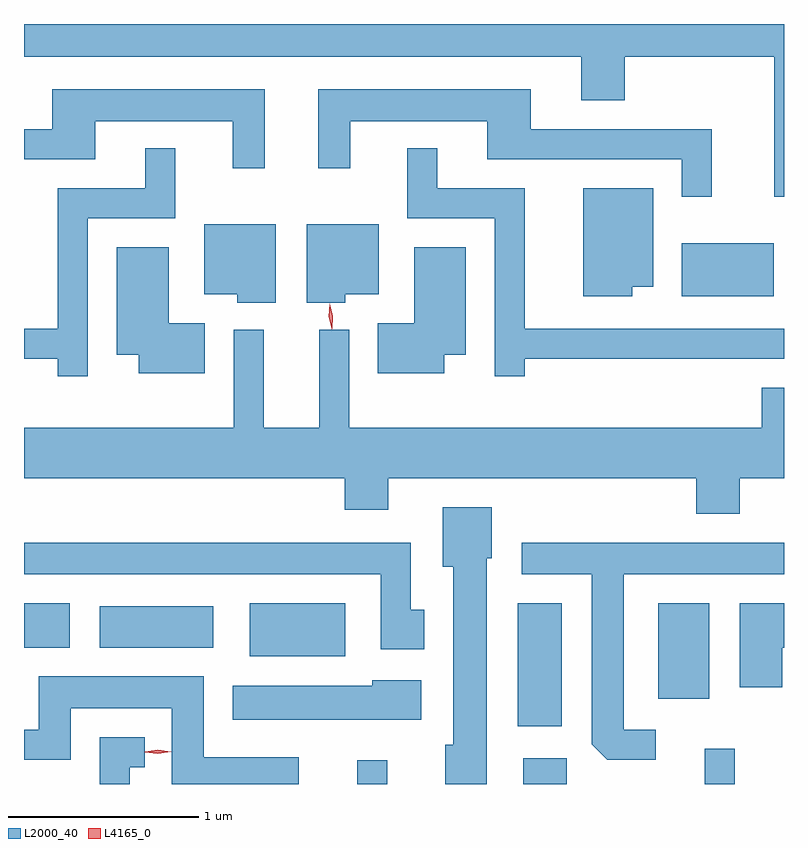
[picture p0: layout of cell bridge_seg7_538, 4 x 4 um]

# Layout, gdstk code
import gdstk
lib = gdstk.Library(unit=1e-6, precision=1e-09)
def R(c, l, rs):  # rectangles x0, y0, x1, y1
    for r in rs: c.add(gdstk.rectangle(r[:2], r[2:], *l))
def P(c, l, *ps):  # polygons
    for p in ps: c.add(gdstk.Polygon(p, *l))
L2000_40 = (2000, 40)
L4165_0 = (4165, 0)

bridge_seg7_538 = lib.new_cell('bridge_seg7_538')
R(bridge_seg7_538, L2000_40, [(964.436,1772.648,964.594,1772.773), (965.311,1772.648,965.539,1772.784), (966.266,1772.648,966.424,1772.833), (965.281,1772.951,965.514,1773.599), (966.021,1773.096,966.289,1773.599), (963.871,1773.321,964.374,1773.599), (962.683,1773.366,962.924,1773.599), (963.081,1773.366,963.679,1773.584), (966.146,1775.216,966.629,1775.494)])
P(bridge_seg7_538, L2000_40, [(966.683,1776.648),(962.683,1776.648),(962.683,1776.476),(965.616,1776.476),(965.616,1776.246),(965.844,1776.246),(965.844,1776.476),(966.631,1776.476),(966.631,1775.738),(966.683,1775.738)],
  [(963.949,1776.304),(962.831,1776.304),(962.831,1776.094),(962.683,1776.094),(962.683,1775.936),(963.059,1775.936),(963.059,1776.136),(963.781,1776.136),(963.781,1775.888),(963.949,1775.888)],
  [(966.304,1776.094),(965.349,1776.094),(965.349,1776.304),(964.231,1776.304),(964.231,1775.888),(964.399,1775.888),(964.399,1776.136),(965.121,1776.136),(965.121,1775.936),(966.146,1775.936),(966.146,1775.738),(966.304,1775.738)],
  [(965.319,1774.886),(966.683,1774.886),(966.683,1775.044),(965.319,1775.044),(965.319,1775.784),(964.859,1775.784),(964.859,1775.993),(964.701,1775.993),(964.701,1775.626),(965.161,1775.626),(965.161,1774.793),(965.319,1774.793)],
  [(963.019,1775.626),(963.479,1775.626),(963.479,1775.993),(963.321,1775.993),(963.321,1775.784),(962.861,1775.784),(962.861,1775.044),(962.683,1775.044),(962.683,1774.886),(962.861,1774.886),(962.861,1774.793),(963.019,1774.793)],
  [(965.884,1775.266),(965.994,1775.266),(965.994,1775.784),(965.626,1775.784),(965.626,1775.216),(965.884,1775.216)],
  [(964.009,1775.594),(963.631,1775.594),(963.631,1775.226),(963.806,1775.226),(963.806,1775.181),(964.009,1775.181)],
  [(964.374,1775.226),(964.549,1775.226),(964.549,1775.594),(964.171,1775.594),(964.171,1775.181),(964.374,1775.181)],
  [(963.634,1775.074),(963.444,1775.074),(963.444,1775.474),(963.171,1775.474),(963.171,1774.906),(963.286,1774.906),(963.286,1774.811),(963.634,1774.811)],
  [(964.894,1774.906),(965.009,1774.906),(965.009,1775.474),(964.736,1775.474),(964.736,1775.074),(964.546,1775.074),(964.546,1774.811),(964.894,1774.811)],
  [(966.449,1774.256),(966.683,1774.256),(966.683,1774.734),(966.566,1774.734),(966.566,1774.524),(964.394,1774.524),(964.394,1775.038),(964.236,1775.038),(964.236,1774.524),(963.944,1774.524),(963.944,1775.038),(963.786,1775.038),(963.786,1774.524),(962.683,1774.524),(962.683,1774.256),(964.371,1774.256),(964.371,1774.091),(964.599,1774.091),(964.599,1774.256),(966.221,1774.256),(966.221,1774.071),(966.449,1774.071)],
  [(965.119,1773.836),(965.144,1773.836),(965.144,1774.104),(964.886,1774.104),(964.886,1773.791),(964.941,1773.791),(964.941,1772.854),(964.901,1772.854),(964.901,1772.648),(965.119,1772.648)],
  [(966.008,1772.934),(965.839,1772.934),(965.839,1773.751),(966.683,1773.751),(966.683,1773.919),(965.303,1773.919),(965.303,1773.751),(965.671,1773.751),(965.671,1772.857),(965.752,1772.776),(966.008,1772.776)],
  [(964.789,1773.564),(964.719,1773.564),(964.719,1773.919),(962.683,1773.919),(962.683,1773.751),(964.561,1773.751),(964.561,1773.356),(964.789,1773.356)],
  [(966.674,1773.366),(966.683,1773.366),(966.683,1773.599),(966.451,1773.599),(966.451,1773.156),(966.674,1773.156)],
  [(964.129,1772.789),(963.629,1772.789),(963.629,1773.214),(962.761,1773.214),(962.761,1772.934),(962.683,1772.934),(962.683,1772.776),(962.929,1772.776),(962.929,1773.046),(963.461,1773.046),(963.461,1772.648),(964.129,1772.648)],
  [(964.774,1773.194),(964.516,1773.194),(964.516,1773.164),(963.781,1773.164),(963.781,1772.986),(964.774,1772.986)],
  [(963.239,1772.736),(963.318,1772.736),(963.318,1772.894),(963.081,1772.894),(963.081,1772.648),(963.239,1772.648)])
P(bridge_seg7_538, L4165_0, [(964.304,1775.042),(964.304,1775.043),(964.288,1775.108),(964.291,1775.175),(964.291,1775.175),(964.292,1775.175),(964.308,1775.11),(964.305,1775.043)],
  [(963.388,1772.807),(963.319,1772.816),(963.319,1772.817),(963.319,1772.817),(963.388,1772.827),(963.458,1772.818),(963.458,1772.818),(963.458,1772.817)])

lib.write_gds('bridge_seg7_538.gds')
